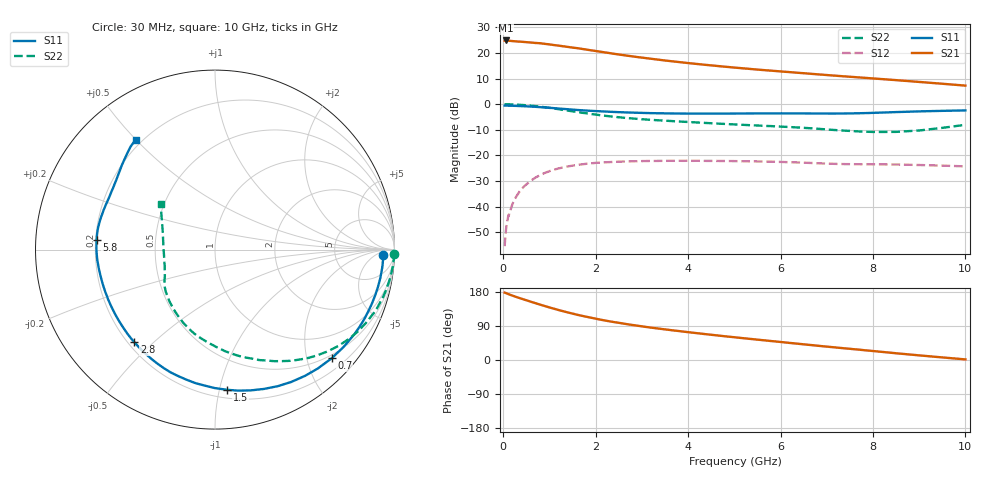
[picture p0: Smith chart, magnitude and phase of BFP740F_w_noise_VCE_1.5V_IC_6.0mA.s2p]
! Infineon Technologies  Discrete & RF Semiconductors
! BFP740F
! VCE =  1.5 V,  IC =  6.0 mA
! Common Emitter S-Parameters:  Oct 2012
# GHz  S  MA  R  50
!  f  S11  S21  S12  S22
! GHz  MAG  ANG  MAG  ANG  MAG  ANG  MAG  ANG
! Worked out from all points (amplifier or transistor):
!   99 points, 30 MHz to 10 GHz, reference 50 ohm
!   highest |S21| = 24.9 dB at 50 MHz (marker M1)
!   |S21| within 3 dB of that: start of sweep to 1.6 GHz
!   unconditionally stable (mu >= 1): 7.307 GHz to end of sweep
!   at 350 MHz: K = 0.04, MSG = 29.3 dB, |S12| = -34.2 dB
!   at 3.5 GHz: K = 0.37, MSG = 19.6 dB, |S12| = -22.1 dB
!   at 10 GHz: K = 1.30, MAG = 12.5 dB, |S12| = -24.3 dB
!   lowest NFmin = 0.39 dB at 450 MHz
!   S11 on the Smith chart (normalised r, x): 30 MHz: 25, -13; 700 MHz: 0.43, -2.47; 1.5 GHz: 0.26, -1.06; 2.8 GHz: 0.22, -0.44; 5.8 GHz: 0.20, +0.04; 10 GHz: 0.17, +0.50
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0.03  0.9391 -1.9  17.32 177.8  0.0017 93.1  0.9974 -1.3
0.05  0.9377 -3.2  17.51 177.0  0.0027 85.0  0.9978 -2.3
0.11  0.936 -7.1  17.38 174.0  0.0068 85.2  0.9954 -4.9
0.3  0.9246 -19.0  16.74 165.6  0.0167 79.0  0.9792 -13.3
0.45  0.9131 -28.1  16.37 159.6  0.0249 73.6  0.9607 -19.7
0.7  0.8884 -43.0  15.64 149.9  0.0371 64.6  0.9166 -30.0
0.8  0.8758 -49.1  15.45 146.0  0.0414 61.1  0.8949 -34.0
1  0.8506 -60.2  14.67 138.7  0.0494 54.4  0.848 -41.8
1.2  0.8227 -70.7  13.88 131.8  0.0559 48.4  0.7979 -49.1
1.5  0.7839 -85.1  12.7 122.5  0.0633 40.5  0.7249 -59.0
1.7  0.7599 -94.3  12 116.7  0.067 36.0  0.6813 -65.1
1.9  0.7424 -102.2  11.25 111.6  0.0702 31.9  0.643 -71.0
2.2  0.7192 -113.4  10.24 104.3  0.0736 26.1  0.5952 -79.4
2.4  0.7055 -119.7  9.613 100.0  0.075 22.8  0.5691 -84.3
2.8  0.6846 -131.0  8.562 92.3  0.0771 17.5  0.5257 -92.8
3.4  0.6647 -145.1  7.306 82.3  0.0784 11.0  0.4829 -103.6
4.2  0.6544 -160.3  6.075 70.7  0.0787 4.2  0.4397 -114.6
5.1  0.6584 -174.8  5.09 58.7  0.0773 -1.9  0.3987 -126.3
5.8  0.6618 175.3  4.506 50.0  0.0756 -6.1  0.3737 -135.1
6.7  0.6586 162.1  3.889 39.0  0.0711 -10.4  0.3365 -146.7
8.5  0.7014 137.6  2.945 17.8  0.0666 -12.9  0.2882 176.1
10  0.756 125.8  2.304 1.6  0.0613 -15.4  0.3957 139.9
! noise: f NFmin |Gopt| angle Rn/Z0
0.45  0.39  0.32  6  0.21
0.9  0.44  0.32  12  0.18
1.5  0.51  0.32  24  0.14
1.9  0.55  0.31  32  0.13
2.4  0.62  0.3  41  0.12
3.5  0.75  0.27  66  0.11
5.5  0.99  0.17  113  0.19
10  1.49  0.4  -125  0.07
